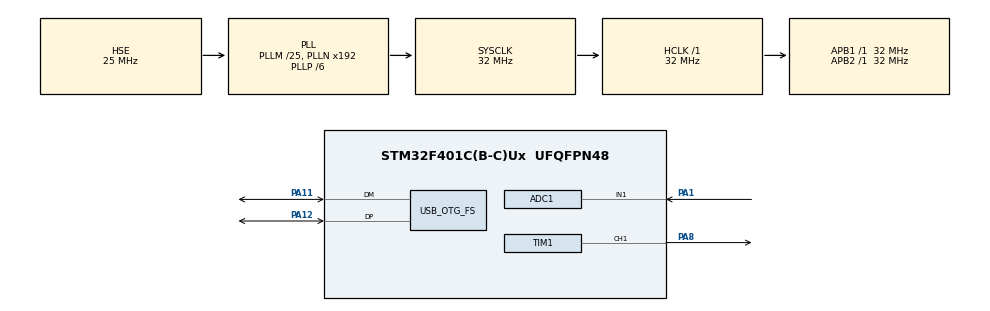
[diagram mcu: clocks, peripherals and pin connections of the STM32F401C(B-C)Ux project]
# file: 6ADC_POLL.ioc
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ADC1.Channel-0\#ChannelRegularConversion=ADC_CHANNEL_1
ADC1.NbrOfConversionFlag=1
ADC1.Rank-0\#ChannelRegularConversion=1
ADC1.Resolution=ADC_RESOLUTION_10B
ADC1.SamplingTime-0\#ChannelRegularConversion=ADC_SAMPLETIME_3CYCLES
ADC1.master=1
Mcu.Family=STM32F4
Mcu.Name=STM32F401C(B-C)Ux
Mcu.Package=UFQFPN48
NVIC.OTG_FS_IRQn=true\:0\:0\:false\:false\:true\:false\:true
NVIC.PriorityGroup=NVIC_PRIORITYGROUP_4
PA1.Signal=ADCx_IN1
PA11.Mode=Device_Only
PA11.Signal=USB_OTG_FS_DM
PA12.Mode=Device_Only
PA12.Signal=USB_OTG_FS_DP
PA13.Mode=Serial_Wire
PA13.Signal=SYS_JTMS-SWDIO
PA14.Mode=Serial_Wire
PA14.Signal=SYS_JTCK-SWCLK
PA8.Signal=S_TIM1_CH1
PH0\ -\ OSC_IN.Mode=HSE-External-Oscillator
PH0\ -\ OSC_IN.Signal=RCC_OSC_IN
PH1\ -\ OSC_OUT.Mode=HSE-External-Oscillator
PH1\ -\ OSC_OUT.Signal=RCC_OSC_OUT
ProjectManager.HeapSize=0x200
ProjectManager.StackSize=0x400
ProjectManager.TargetToolchain=STM32CubeIDE
RCC.48MHZClocksFreq_Value=48000000
RCC.AHBFreq_Value=32000000
RCC.APB1Freq_Value=32000000
RCC.APB1TimFreq_Value=32000000
RCC.APB2Freq_Value=32000000
RCC.APB2TimFreq_Value=32000000
RCC.CortexFreq_Value=32000000
RCC.HCLKFreq_Value=32000000
RCC.HSE_VALUE=25000000
RCC.HSI_VALUE=16000000
RCC.LSE_VALUE=32768
RCC.PLLM=25
RCC.PLLP=RCC_PLLP_DIV6
RCC.SYSCLKFreq_VALUE=32000000
RCC.SYSCLKSource=RCC_SYSCLKSOURCE_PLLCLK
RCC.VCOOutputFreq_Value=192000000
SH.ADCx_IN1.0=ADC1_IN1,IN1
SH.S_TIM1_CH1.0=TIM1_CH1,PWM Generation1 CH1
TIM1.AutoReloadPreload=TIM_AUTORELOAD_PRELOAD_ENABLE
TIM1.Channel-PWM\ Generation1\ CH1=TIM_CHANNEL_1
TIM1.Period=1000-1
TIM1.Prescaler=32-1
TIM1.TIM_MasterOutputTrigger=TIM_TRGO_UPDATE
USB_DEVICE.CLASS_NAME_FS=CDC
USB_DEVICE.VirtualMode=Cdc
USB_DEVICE.VirtualModeFS=Cdc_FS
USB_OTG_FS.VirtualMode=Device_Only
VP_TIM1_VS_ClockSourceINT.Mode=Internal
VP_USB_DEVICE_VS_USB_DEVICE_CDC_FS.Mode=CDC_FS
board=custom

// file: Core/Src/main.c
/* USER CODE BEGIN Header */
/**
  ******************************************************************************
  * @file           : main.c
  * @brief          : Main program body
  ******************************************************************************
  * @attention
  *
  * Copyright (c) 2022 STMicroelectronics.
  * All rights reserved.
  *
  * This software is licensed under terms that can be found in the LICENSE file
  * in the root directory of this software component.
  * If no LICENSE file comes with this software, it is provided AS-IS.
  *
  ******************************************************************************
  */
/* USER CODE END Header */
#include "main.h"
#include "usb_device.h"

ADC_HandleTypeDef hadc1;

TIM_HandleTypeDef htim1;

/* USER CODE BEGIN PV */
uint16_t adcValue = 0;
uint8_t scan = 0;
uint16_t duty = 0;
/* USER CODE END PV */

void SystemClock_Config(void);
static void MX_GPIO_Init(void);
static void MX_ADC1_Init(void);
static void MX_TIM1_Init(void);

/* USER CODE BEGIN 0 */
void HAL_IncTick(void)
{
  uwTick += uwTickFreq;

  if(uwTick % 100 == 0){
        scan = SET;
  }
}

/* USER CODE END 0 */

int main(void)
{

  /* MCU Configuration--------------------------------------------------------*/

  /* Reset of all peripherals, Initializes the Flash interface and the Systick. */
  HAL_Init();

  /* Configure the system clock */
  SystemClock_Config();

  /* Initialize all configured peripherals */
  MX_GPIO_Init();
  MX_ADC1_Init();
  MX_TIM1_Init();
  MX_USB_DEVICE_Init();
  /* USER CODE BEGIN 2 */
  HAL_TIM_PWM_Start(&htim1, TIM_CHANNEL_1);
  HAL_ADC_Start(&hadc1);
  /* USER CODE END 2 */

  /* Infinite loop */
  /* USER CODE BEGIN WHILE */
  while (1)
  {
    if(scan){
    	scan = RESET;
    	HAL_ADC_Start(&hadc1);
    	HAL_ADC_PollForConversion(&hadc1, 10);
    	adcValue = HAL_ADC_GetValue(&hadc1);

    	duty = (uint16_t)(999 * adcValue / 1023); //12bit 4095, 10bit 1023
    	TIM1->CCR1 = duty;
    }
    __NOP();
    /* USER CODE END WHILE */

  }
}

void SystemClock_Config(void)
{
  RCC_OscInitTypeDef RCC_OscInitStruct = {0};
  RCC_ClkInitTypeDef RCC_ClkInitStruct = {0};

  /** Configure the main internal regulator output voltage
  */
  __HAL_RCC_PWR_CLK_ENABLE();
  __HAL_PWR_VOLTAGESCALING_CONFIG(PWR_REGULATOR_VOLTAGE_SCALE2);
  /** Initializes the RCC Oscillators according to the specified parameters
  * in the RCC_OscInitTypeDef structure.
  */
  RCC_OscInitStruct.OscillatorType = RCC_OSCILLATORTYPE_HSE;
  RCC_OscInitStruct.HSEState = RCC_HSE_ON;
  RCC_OscInitStruct.PLL.PLLState = RCC_PLL_ON;
  RCC_OscInitStruct.PLL.PLLSource = RCC_PLLSOURCE_HSE;
  RCC_OscInitStruct.PLL.PLLM = 25;
  RCC_OscInitStruct.PLL.PLLN = 192;
  RCC_OscInitStruct.PLL.PLLP = RCC_PLLP_DIV6;
  RCC_OscInitStruct.PLL.PLLQ = 4;
  if (HAL_RCC_OscConfig(&RCC_OscInitStruct) != HAL_OK)
  {
    Error_Handler();
  }
  /** Initializes the CPU, AHB and APB buses clocks
  */
  RCC_ClkInitStruct.ClockType = RCC_CLOCKTYPE_HCLK|RCC_CLOCKTYPE_SYSCLK
                              |RCC_CLOCKTYPE_PCLK1|RCC_CLOCKTYPE_PCLK2;
  RCC_ClkInitStruct.SYSCLKSource = RCC_SYSCLKSOURCE_PLLCLK;
  RCC_ClkInitStruct.AHBCLKDivider = RCC_SYSCLK_DIV1;
  RCC_ClkInitStruct.APB1CLKDivider = RCC_HCLK_DIV1;
  RCC_ClkInitStruct.APB2CLKDivider = RCC_HCLK_DIV1;

  if (HAL_RCC_ClockConfig(&RCC_ClkInitStruct, FLASH_LATENCY_1) != HAL_OK)
  {
    Error_Handler();
  }
}

static void MX_ADC1_Init(void)
{

  ADC_ChannelConfTypeDef sConfig = {0};

  /** Configure the global features of the ADC (Clock, Resolution, Data Alignment and number of conversion)
  */
  hadc1.Instance = ADC1;
  hadc1.Init.ClockPrescaler = ADC_CLOCK_SYNC_PCLK_DIV2;
  hadc1.Init.Resolution = ADC_RESOLUTION_10B;
  hadc1.Init.ScanConvMode = DISABLE;
  hadc1.Init.ContinuousConvMode = DISABLE;
  hadc1.Init.DiscontinuousConvMode = DISABLE;
  hadc1.Init.ExternalTrigConvEdge = ADC_EXTERNALTRIGCONVEDGE_NONE;
  hadc1.Init.ExternalTrigConv = ADC_SOFTWARE_START;
  hadc1.Init.DataAlign = ADC_DATAALIGN_RIGHT;
  hadc1.Init.NbrOfConversion = 1;
  hadc1.Init.DMAContinuousRequests = DISABLE;
  hadc1.Init.EOCSelection = ADC_EOC_SINGLE_CONV;
  if (HAL_ADC_Init(&hadc1) != HAL_OK)
  {
    Error_Handler();
  }
  /** Configure for the selected ADC regular channel its corresponding rank in the sequencer and its sample time.
  */
  sConfig.Channel = ADC_CHANNEL_1;
  sConfig.Rank = 1;
  sConfig.SamplingTime = ADC_SAMPLETIME_3CYCLES;
  if (HAL_ADC_ConfigChannel(&hadc1, &sConfig) != HAL_OK)
  {
    Error_Handler();
  }

}

static void MX_TIM1_Init(void)
{

  TIM_ClockConfigTypeDef sClockSourceConfig = {0};
  TIM_MasterConfigTypeDef sMasterConfig = {0};
  TIM_OC_InitTypeDef sConfigOC = {0};
  TIM_BreakDeadTimeConfigTypeDef sBreakDeadTimeConfig = {0};

  htim1.Instance = TIM1;
  htim1.Init.Prescaler = 32-1;
  htim1.Init.CounterMode = TIM_COUNTERMODE_UP;
  htim1.Init.Period = 1000-1;
  htim1.Init.ClockDivision = TIM_CLOCKDIVISION_DIV1;
  htim1.Init.RepetitionCounter = 0;
  htim1.Init.AutoReloadPreload = TIM_AUTORELOAD_PRELOAD_ENABLE;
  if (HAL_TIM_Base_Init(&htim1) != HAL_OK)
  {
    Error_Handler();
  }
  sClockSourceConfig.ClockSource = TIM_CLOCKSOURCE_INTERNAL;
  if (HAL_TIM_ConfigClockSource(&htim1, &sClockSourceConfig) != HAL_OK)
  {
    Error_Handler();
  }
  if (HAL_TIM_PWM_Init(&htim1) != HAL_OK)
  {
    Error_Handler();
  }
  sMasterConfig.MasterOutputTrigger = TIM_TRGO_UPDATE;
  sMasterConfig.MasterSlaveMode = TIM_MASTERSLAVEMODE_DISABLE;
  if (HAL_TIMEx_MasterConfigSynchronization(&htim1, &sMasterConfig) != HAL_OK)
  {
    Error_Handler();
  }
  sConfigOC.OCMode = TIM_OCMODE_PWM1;
  sConfigOC.Pulse = 0;
  sConfigOC.OCPolarity = TIM_OCPOLARITY_HIGH;
  sConfigOC.OCNPolarity = TIM_OCNPOLARITY_HIGH;
  sConfigOC.OCFastMode = TIM_OCFAST_DISABLE;
  sConfigOC.OCIdleState = TIM_OCIDLESTATE_RESET;
  sConfigOC.OCNIdleState = TIM_OCNIDLESTATE_RESET;
  if (HAL_TIM_PWM_ConfigChannel(&htim1, &sConfigOC, TIM_CHANNEL_1) != HAL_OK)
  {
    Error_Handler();
  }
  sBreakDeadTimeConfig.OffStateRunMode = TIM_OSSR_DISABLE;
  sBreakDeadTimeConfig.OffStateIDLEMode = TIM_OSSI_DISABLE;
  sBreakDeadTimeConfig.LockLevel = TIM_LOCKLEVEL_OFF;
  sBreakDeadTimeConfig.DeadTime = 0;
  sBreakDeadTimeConfig.BreakState = TIM_BREAK_DISABLE;
  sBreakDeadTimeConfig.BreakPolarity = TIM_BREAKPOLARITY_HIGH;
  sBreakDeadTimeConfig.AutomaticOutput = TIM_AUTOMATICOUTPUT_DISABLE;
  if (HAL_TIMEx_ConfigBreakDeadTime(&htim1, &sBreakDeadTimeConfig) != HAL_OK)
  {
    Error_Handler();
  }
  HAL_TIM_MspPostInit(&htim1);

}

static void MX_GPIO_Init(void)
{

  /* GPIO Ports Clock Enable */
  __HAL_RCC_GPIOH_CLK_ENABLE();
  __HAL_RCC_GPIOA_CLK_ENABLE();

}

void Error_Handler(void)
{
  __disable_irq();
  while (1)
  {
  }
}
